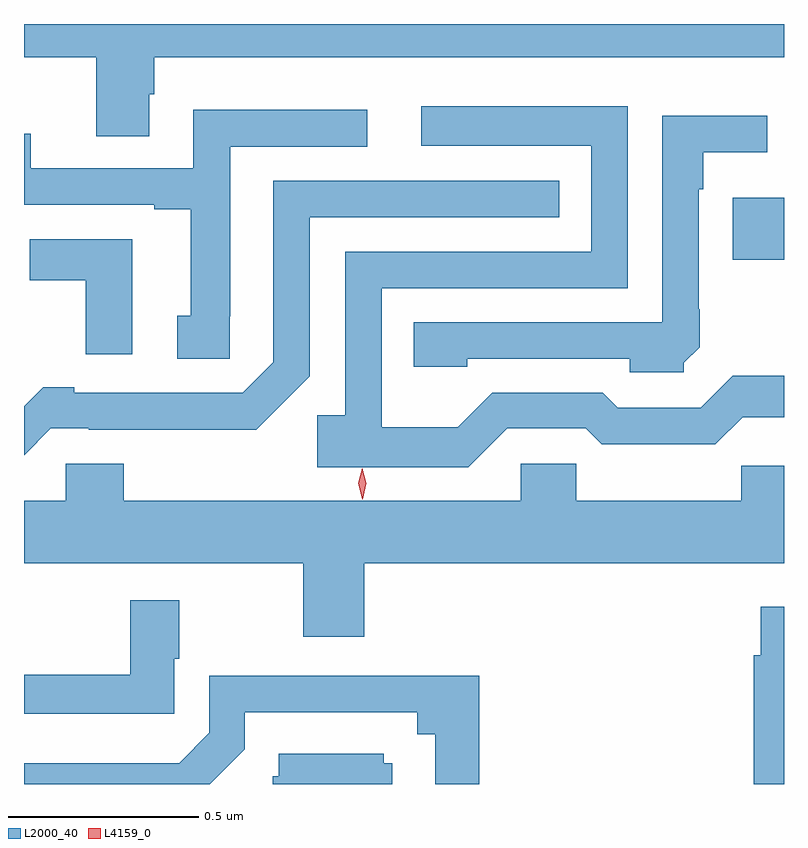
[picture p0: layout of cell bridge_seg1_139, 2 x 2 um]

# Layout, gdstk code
import gdstk
lib = gdstk.Library(unit=1e-6, precision=1e-09)
def R(c, l, rs):  # rectangles x0, y0, x1, y1
    for r in rs: c.add(gdstk.rectangle(r[:2], r[2:], *l))
def P(c, l, *ps):  # polygons
    for p in ps: c.add(gdstk.Polygon(p, *l))
L2000_40 = (2000, 40)
L4159_0 = (4159, 0)

bridge_seg1_139 = lib.new_cell('bridge_seg1_139')
R(bridge_seg1_139, L2000_40, [(414.372,579.17,414.507,579.334)])
P(bridge_seg1_139, L2000_40, [(412.837,579.606),(412.85,579.606),(412.85,579.704),(414.507,579.704),(414.507,579.791),(412.507,579.791),(412.507,579.704),(412.697,579.704),(412.697,579.496),(412.837,579.496)],
  [(413.779,578.727),(413.985,578.727),(414.028,578.685),(414.326,578.685),(414.398,578.756),(414.507,578.756),(414.507,578.865),(414.372,578.865),(414.288,578.781),(414.069,578.781),(414.03,578.82),(413.739,578.82),(413.649,578.73),(413.448,578.73),(413.448,579.096),(414.096,579.096),(414.096,579.574),(413.553,579.574),(413.553,579.47),(414,579.47),(414,579.192),(413.352,579.192),(413.352,578.762),(413.279,578.762),(413.279,578.624),(413.676,578.624)],
  [(413.048,579.022),(413.05,579.022),(413.05,579.468),(413.41,579.468),(413.41,579.565),(412.953,579.565),(412.953,579.411),(412.525,579.411),(412.525,579.502),(412.507,579.502),(412.507,579.315),(412.85,579.315),(412.85,579.303),(412.946,579.303),(412.946,579.023),(412.91,579.023),(412.91,578.91),(413.048,578.91)],
  [(414.243,578.9),(414.285,578.941),(414.285,579.04),(414.282,579.04),(414.282,579.356),(414.294,579.356),(414.294,579.453),(414.463,579.453),(414.463,579.55),(414.186,579.55),(414.186,579.006),(413.533,579.006),(413.533,578.889),(413.673,578.889),(413.673,578.91),(414.101,578.91),(414.101,578.874),(414.243,578.874)],
  [(412.578,578.727),(412.678,578.727),(412.678,578.723),(413.118,578.723),(413.259,578.864),(413.259,579.282),(413.915,579.282),(413.915,579.378),(413.163,579.378),(413.163,578.901),(413.082,578.82),(412.639,578.82),(412.639,578.835),(412.557,578.835),(412.507,578.785),(412.507,578.656)],
  [(412.792,579.225),(412.522,579.225),(412.522,579.117),(412.67,579.117),(412.67,578.922),(412.792,578.922)],
  [(413.402,578.372),(414.507,578.372),(414.507,578.629),(414.395,578.629),(414.395,578.536),(413.96,578.536),(413.96,578.634),(413.814,578.634),(413.814,578.536),(412.769,578.536),(412.769,578.634),(412.617,578.634),(412.617,578.536),(412.507,578.536),(412.507,578.372),(413.242,578.372),(413.242,578.178),(413.402,578.178)],
  [(412.902,578.121),(412.915,578.121),(412.915,578.275),(412.786,578.275),(412.786,578.078),(412.507,578.078),(412.507,577.976),(412.902,577.976)],
  [(414.507,578.257),(414.446,578.257),(414.446,578.13),(414.428,578.13),(414.428,577.791),(414.507,577.791)],
  [(413.088,577.883),(413.088,577.98),(413.542,577.98),(413.542,577.922),(413.589,577.922),(413.589,577.791),(413.705,577.791),(413.705,578.076),(412.995,578.076),(412.995,577.926),(412.915,577.846),(412.507,577.846),(412.507,577.791),(412.996,577.791)],
  [(413.476,577.845),(413.454,577.845),(413.454,577.87),(413.177,577.87),(413.177,577.812),(413.161,577.812),(413.161,577.791),(413.476,577.791)])
P(bridge_seg1_139, L4159_0, [(413.397,578.541),(413.387,578.582),(413.397,578.622),(413.397,578.622),(413.397,578.622),(413.407,578.582),(413.398,578.541),(413.398,578.541)])

lib.write_gds('bridge_seg1_139.gds')
